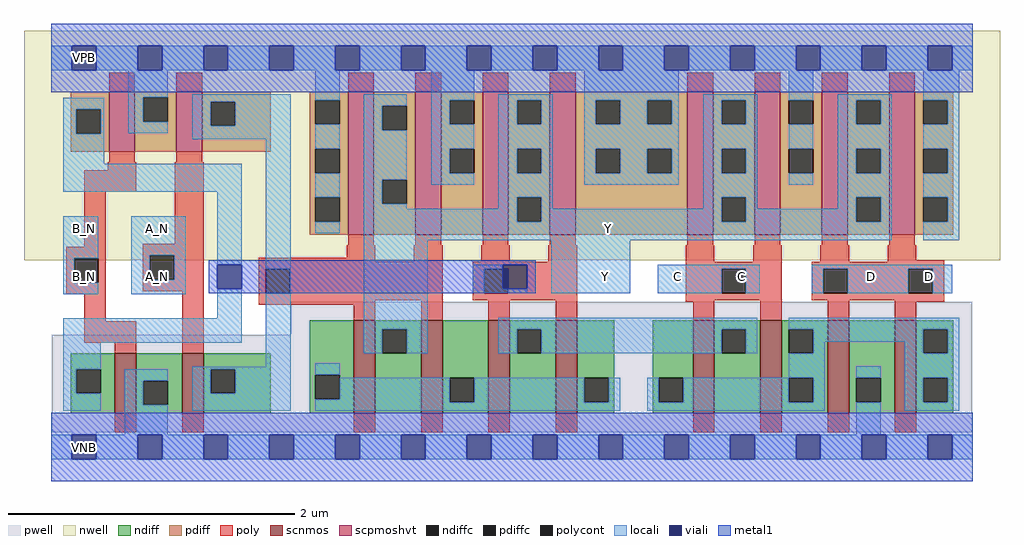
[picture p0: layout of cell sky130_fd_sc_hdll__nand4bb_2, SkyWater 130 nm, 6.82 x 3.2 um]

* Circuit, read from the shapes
.subckt sky130_fd_sc_hdll__nand4bb_2 A_N B_N C D VGND VNB VPB VPWR Y
XM1 VGND B_N n1 VNB sky130_fd_pr__nfet_01v8 w=0.42 l=0.15
XM2 n2 A_N VGND VNB sky130_fd_pr__nfet_01v8 w=0.42 l=0.15
XM3 Y n2 n3 VNB sky130_fd_pr__nfet_01v8 w=0.65 l=0.15 m=2
XM4 n4 n1 n3 VNB sky130_fd_pr__nfet_01v8 w=0.65 l=0.15 m=2
XM5 n4 C n5 VNB sky130_fd_pr__nfet_01v8 w=0.65 l=0.15 m=2
XM6 VGND D n5 VNB sky130_fd_pr__nfet_01v8 w=0.65 l=0.15 m=2
XM7 VPWR B_N n1 VPB sky130_fd_pr__pfet_01v8_hvt w=0.42 l=0.18
XM8 n2 A_N VPWR VPB sky130_fd_pr__pfet_01v8_hvt w=0.42 l=0.18
XM9 Y n2 VPWR VPB sky130_fd_pr__pfet_01v8_hvt w=1 l=0.18 m=2
XM10 Y n1 VPWR VPB sky130_fd_pr__pfet_01v8_hvt w=1 l=0.18 m=2
XM11 Y C VPWR VPB sky130_fd_pr__pfet_01v8_hvt w=1 l=0.18 m=2
XM12 Y D VPWR VPB sky130_fd_pr__pfet_01v8_hvt w=1 l=0.18 m=2
.ends

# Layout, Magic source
magic
tech sky130A
magscale 1 2
<< nwell >>
rect -38 261 1326 582
<< pwell >>
rect 335 157 1287 203
rect 1 21 1287 157
rect 29 -17 63 21
<< scnmos >>
rect 89 47 119 131
rect 183 47 213 131
rect 423 47 453 177
rect 517 47 547 177
rect 611 47 641 177
rect 705 47 735 177
rect 897 47 927 177
rect 991 47 1021 177
rect 1085 47 1115 177
rect 1179 47 1209 177
<< scpmoshvt >>
rect 81 413 117 497
rect 175 413 211 497
rect 415 297 451 497
rect 509 297 545 497
rect 603 297 639 497
rect 697 297 733 497
rect 889 297 925 497
rect 983 297 1019 497
rect 1077 297 1113 497
rect 1171 297 1207 497
<< ndiff >>
rect 27 109 89 131
rect 27 75 35 109
rect 69 75 89 109
rect 27 47 89 75
rect 119 93 183 131
rect 119 59 129 93
rect 163 59 183 93
rect 119 47 183 59
rect 213 109 307 131
rect 213 75 223 109
rect 257 75 307 109
rect 213 47 307 75
rect 361 101 423 177
rect 361 67 369 101
rect 403 67 423 101
rect 361 47 423 67
rect 453 165 517 177
rect 453 131 463 165
rect 497 131 517 165
rect 453 47 517 131
rect 547 97 611 177
rect 547 63 557 97
rect 591 63 611 97
rect 547 47 611 63
rect 641 165 705 177
rect 641 131 651 165
rect 685 131 705 165
rect 641 47 705 131
rect 735 97 787 177
rect 735 63 745 97
rect 779 63 787 97
rect 735 47 787 63
rect 841 97 897 177
rect 841 63 849 97
rect 883 63 897 97
rect 841 47 897 63
rect 927 165 991 177
rect 927 131 937 165
rect 971 131 991 165
rect 927 47 991 131
rect 1021 165 1085 177
rect 1021 131 1031 165
rect 1065 131 1085 165
rect 1021 97 1085 131
rect 1021 63 1031 97
rect 1065 63 1085 97
rect 1021 47 1085 63
rect 1115 97 1179 177
rect 1115 63 1125 97
rect 1159 63 1179 97
rect 1115 47 1179 63
rect 1209 165 1261 177
rect 1209 131 1219 165
rect 1253 131 1261 165
rect 1209 97 1261 131
rect 1209 63 1219 97
rect 1253 63 1261 97
rect 1209 47 1261 63
<< pdiff >>
rect 27 472 81 497
rect 27 438 35 472
rect 69 438 81 472
rect 27 413 81 438
rect 117 489 175 497
rect 117 455 129 489
rect 163 455 175 489
rect 117 413 175 455
rect 211 483 307 497
rect 211 449 223 483
rect 257 449 307 483
rect 211 413 307 449
rect 361 485 415 497
rect 361 451 369 485
rect 403 451 415 485
rect 361 417 415 451
rect 361 383 369 417
rect 403 383 415 417
rect 361 349 415 383
rect 361 315 369 349
rect 403 315 415 349
rect 361 297 415 315
rect 451 477 509 497
rect 451 443 463 477
rect 497 443 509 477
rect 451 374 509 443
rect 451 340 463 374
rect 497 340 509 374
rect 451 297 509 340
rect 545 485 603 497
rect 545 451 557 485
rect 591 451 603 485
rect 545 417 603 451
rect 545 383 557 417
rect 591 383 603 417
rect 545 297 603 383
rect 639 485 697 497
rect 639 451 651 485
rect 685 451 697 485
rect 639 417 697 451
rect 639 383 651 417
rect 685 383 697 417
rect 639 349 697 383
rect 639 315 651 349
rect 685 315 697 349
rect 639 297 697 315
rect 733 485 889 497
rect 733 451 761 485
rect 795 451 833 485
rect 867 451 889 485
rect 733 417 889 451
rect 733 383 761 417
rect 795 383 833 417
rect 867 383 889 417
rect 733 297 889 383
rect 925 485 983 497
rect 925 451 937 485
rect 971 451 983 485
rect 925 417 983 451
rect 925 383 937 417
rect 971 383 983 417
rect 925 349 983 383
rect 925 315 937 349
rect 971 315 983 349
rect 925 297 983 315
rect 1019 485 1077 497
rect 1019 451 1031 485
rect 1065 451 1077 485
rect 1019 417 1077 451
rect 1019 383 1031 417
rect 1065 383 1077 417
rect 1019 297 1077 383
rect 1113 485 1171 497
rect 1113 451 1125 485
rect 1159 451 1171 485
rect 1113 417 1171 451
rect 1113 383 1125 417
rect 1159 383 1171 417
rect 1113 349 1171 383
rect 1113 315 1125 349
rect 1159 315 1171 349
rect 1113 297 1171 315
rect 1207 485 1261 497
rect 1207 451 1219 485
rect 1253 451 1261 485
rect 1207 417 1261 451
rect 1207 383 1219 417
rect 1253 383 1261 417
rect 1207 349 1261 383
rect 1207 315 1219 349
rect 1253 315 1261 349
rect 1207 297 1261 315
<< ndiffc >>
rect 35 75 69 109
rect 129 59 163 93
rect 223 75 257 109
rect 369 67 403 101
rect 463 131 497 165
rect 557 63 591 97
rect 651 131 685 165
rect 745 63 779 97
rect 849 63 883 97
rect 937 131 971 165
rect 1031 131 1065 165
rect 1031 63 1065 97
rect 1125 63 1159 97
rect 1219 131 1253 165
rect 1219 63 1253 97
<< pdiffc >>
rect 35 438 69 472
rect 129 455 163 489
rect 223 449 257 483
rect 369 451 403 485
rect 369 383 403 417
rect 369 315 403 349
rect 463 443 497 477
rect 463 340 497 374
rect 557 451 591 485
rect 557 383 591 417
rect 651 451 685 485
rect 651 383 685 417
rect 651 315 685 349
rect 761 451 795 485
rect 833 451 867 485
rect 761 383 795 417
rect 833 383 867 417
rect 937 451 971 485
rect 937 383 971 417
rect 937 315 971 349
rect 1031 451 1065 485
rect 1031 383 1065 417
rect 1125 451 1159 485
rect 1125 383 1159 417
rect 1125 315 1159 349
rect 1219 451 1253 485
rect 1219 383 1253 417
rect 1219 315 1253 349
<< poly >>
rect 81 497 117 523
rect 175 497 211 523
rect 415 497 451 523
rect 509 497 545 523
rect 603 497 639 523
rect 697 497 733 523
rect 889 497 925 523
rect 983 497 1019 523
rect 1077 497 1113 523
rect 1171 497 1207 523
rect 81 398 117 413
rect 175 398 211 413
rect 79 387 119 398
rect 46 357 119 387
rect 46 280 76 357
rect 173 284 213 398
rect 21 264 76 280
rect 21 230 32 264
rect 66 230 76 264
rect 21 214 76 230
rect 128 268 213 284
rect 415 282 451 297
rect 509 282 545 297
rect 603 282 639 297
rect 697 282 733 297
rect 889 282 925 297
rect 983 282 1019 297
rect 1077 282 1113 297
rect 1171 282 1207 297
rect 128 234 138 268
rect 172 234 213 268
rect 413 265 453 282
rect 128 218 213 234
rect 46 176 76 214
rect 46 146 119 176
rect 89 131 119 146
rect 183 131 213 218
rect 290 259 453 265
rect 507 259 547 282
rect 601 259 641 282
rect 695 259 735 282
rect 290 249 547 259
rect 290 215 300 249
rect 334 215 547 249
rect 290 205 547 215
rect 589 249 735 259
rect 589 215 605 249
rect 639 215 735 249
rect 589 205 735 215
rect 290 199 453 205
rect 423 177 453 199
rect 517 177 547 205
rect 611 177 641 205
rect 705 177 735 205
rect 887 259 927 282
rect 981 259 1021 282
rect 1075 259 1115 282
rect 1169 261 1209 282
rect 1169 259 1248 261
rect 887 249 1021 259
rect 887 215 937 249
rect 971 215 1021 249
rect 887 205 1021 215
rect 1063 249 1248 259
rect 1063 215 1079 249
rect 1113 215 1198 249
rect 1232 215 1248 249
rect 1063 205 1248 215
rect 887 203 927 205
rect 897 177 927 203
rect 991 177 1021 205
rect 1085 177 1115 205
rect 1179 203 1248 205
rect 1179 177 1209 203
rect 89 21 119 47
rect 183 21 213 47
rect 423 21 453 47
rect 517 21 547 47
rect 611 21 641 47
rect 705 21 735 47
rect 897 21 927 47
rect 991 21 1021 47
rect 1085 21 1115 47
rect 1179 21 1209 47
<< polycont >>
rect 32 230 66 264
rect 138 234 172 268
rect 300 215 334 249
rect 605 215 639 249
rect 937 215 971 249
rect 1079 215 1113 249
rect 1198 215 1232 249
<< locali >>
rect 0 527 29 561
rect 63 527 121 561
rect 155 527 213 561
rect 247 527 305 561
rect 339 527 397 561
rect 431 527 489 561
rect 523 527 581 561
rect 615 527 673 561
rect 707 527 765 561
rect 799 527 857 561
rect 891 527 949 561
rect 983 527 1041 561
rect 1075 527 1133 561
rect 1167 527 1225 561
rect 1259 527 1288 561
rect 108 489 163 527
rect 17 472 74 488
rect 17 438 35 472
rect 69 438 74 472
rect 108 455 129 489
rect 108 439 163 455
rect 197 483 335 493
rect 197 449 223 483
rect 257 449 335 483
rect 17 396 74 438
rect 197 430 335 449
rect 17 357 266 396
rect 17 264 66 323
rect 17 230 32 264
rect 17 214 66 230
rect 112 268 188 323
rect 112 234 138 268
rect 172 234 188 268
rect 112 214 188 234
rect 232 255 266 357
rect 232 180 266 221
rect 17 146 266 180
rect 300 249 335 430
rect 369 485 403 527
rect 369 417 403 451
rect 369 349 403 383
rect 369 299 403 315
rect 437 477 497 493
rect 437 443 463 477
rect 437 374 497 443
rect 437 340 463 374
rect 531 485 591 527
rect 531 451 557 485
rect 531 417 591 451
rect 531 383 557 417
rect 531 367 591 383
rect 625 485 701 493
rect 625 451 651 485
rect 685 451 701 485
rect 625 417 701 451
rect 625 383 651 417
rect 685 383 701 417
rect 437 333 497 340
rect 625 349 701 383
rect 745 485 877 527
rect 745 451 761 485
rect 795 451 833 485
rect 867 451 877 485
rect 745 417 877 451
rect 745 383 761 417
rect 795 383 833 417
rect 867 383 877 417
rect 745 367 877 383
rect 911 485 987 493
rect 911 451 937 485
rect 971 451 987 485
rect 911 417 987 451
rect 911 383 937 417
rect 971 383 987 417
rect 625 333 651 349
rect 437 315 651 333
rect 685 333 701 349
rect 911 349 987 383
rect 1031 485 1065 527
rect 1031 417 1065 451
rect 1031 367 1065 383
rect 1099 485 1175 493
rect 1099 451 1125 485
rect 1159 451 1175 485
rect 1099 417 1175 451
rect 1099 383 1125 417
rect 1159 383 1175 417
rect 911 333 937 349
rect 685 315 937 333
rect 971 333 987 349
rect 1099 349 1175 383
rect 1099 333 1125 349
rect 971 315 1125 333
rect 1159 315 1175 349
rect 334 215 335 249
rect 17 109 69 146
rect 300 112 335 215
rect 437 289 1175 315
rect 1219 485 1269 527
rect 1253 451 1269 485
rect 1219 417 1269 451
rect 1253 383 1269 417
rect 1219 349 1269 383
rect 1253 315 1269 349
rect 1219 289 1269 315
rect 437 165 526 289
rect 589 249 631 255
rect 589 215 605 249
rect 639 215 665 221
rect 699 215 809 289
rect 848 249 990 255
rect 848 215 937 249
rect 971 215 990 249
rect 1063 249 1259 255
rect 1063 215 1079 249
rect 1113 215 1198 249
rect 1232 215 1259 249
rect 437 131 463 165
rect 497 131 526 165
rect 625 165 987 181
rect 625 131 651 165
rect 685 131 937 165
rect 971 131 987 165
rect 1031 165 1269 181
rect 1065 147 1219 165
rect 1065 131 1081 147
rect 197 109 335 112
rect 17 75 35 109
rect 17 51 69 75
rect 103 93 163 109
rect 103 59 129 93
rect 103 17 163 59
rect 197 75 223 109
rect 257 75 335 109
rect 197 51 335 75
rect 369 101 403 117
rect 1031 97 1081 131
rect 1193 131 1219 147
rect 1253 131 1269 165
rect 403 67 557 97
rect 369 63 557 67
rect 591 63 745 97
rect 779 63 795 97
rect 369 51 795 63
rect 833 63 849 97
rect 883 63 1031 97
rect 1065 63 1081 97
rect 833 51 1081 63
rect 1125 97 1159 113
rect 1125 17 1159 63
rect 1193 97 1269 131
rect 1193 63 1219 97
rect 1253 63 1269 97
rect 1193 51 1269 63
rect 0 -17 29 17
rect 63 -17 121 17
rect 155 -17 213 17
rect 247 -17 305 17
rect 339 -17 397 17
rect 431 -17 489 17
rect 523 -17 581 17
rect 615 -17 673 17
rect 707 -17 765 17
rect 799 -17 857 17
rect 891 -17 949 17
rect 983 -17 1041 17
rect 1075 -17 1133 17
rect 1167 -17 1225 17
rect 1259 -17 1288 17
<< viali >>
rect 29 527 63 561
rect 121 527 155 561
rect 213 527 247 561
rect 305 527 339 561
rect 397 527 431 561
rect 489 527 523 561
rect 581 527 615 561
rect 673 527 707 561
rect 765 527 799 561
rect 857 527 891 561
rect 949 527 983 561
rect 1041 527 1075 561
rect 1133 527 1167 561
rect 1225 527 1259 561
rect 232 221 266 255
rect 631 249 665 255
rect 631 221 639 249
rect 639 221 665 249
rect 29 -17 63 17
rect 121 -17 155 17
rect 213 -17 247 17
rect 305 -17 339 17
rect 397 -17 431 17
rect 489 -17 523 17
rect 581 -17 615 17
rect 673 -17 707 17
rect 765 -17 799 17
rect 857 -17 891 17
rect 949 -17 983 17
rect 1041 -17 1075 17
rect 1133 -17 1167 17
rect 1225 -17 1259 17
<< metal1 >>
rect 0 561 1288 592
rect 0 527 29 561
rect 63 527 121 561
rect 155 527 213 561
rect 247 527 305 561
rect 339 527 397 561
rect 431 527 489 561
rect 523 527 581 561
rect 615 527 673 561
rect 707 527 765 561
rect 799 527 857 561
rect 891 527 949 561
rect 983 527 1041 561
rect 1075 527 1133 561
rect 1167 527 1225 561
rect 1259 527 1288 561
rect 0 496 1288 527
rect 220 255 677 261
rect 220 221 232 255
rect 266 221 631 255
rect 665 221 677 255
rect 220 215 677 221
rect 0 17 1288 48
rect 0 -17 29 17
rect 63 -17 121 17
rect 155 -17 213 17
rect 247 -17 305 17
rect 339 -17 397 17
rect 431 -17 489 17
rect 523 -17 581 17
rect 615 -17 673 17
rect 707 -17 765 17
rect 799 -17 857 17
rect 891 -17 949 17
rect 983 -17 1041 17
rect 1075 -17 1133 17
rect 1167 -17 1225 17
rect 1259 -17 1288 17
rect 0 -48 1288 -17
<< labels >>
flabel locali s 1129 221 1163 255 0 FreeSans 200 0 0 0 D
port 4 nsew signal input
flabel locali s 1210 221 1244 255 0 FreeSans 200 0 0 0 D
port 4 nsew signal input
flabel locali s 948 221 982 255 0 FreeSans 200 0 0 0 C
port 3 nsew signal input
flabel locali s 30 289 64 323 0 FreeSans 200 0 0 0 B_N
port 2 nsew signal input
flabel locali s 30 221 64 255 0 FreeSans 200 0 0 0 B_N
port 2 nsew signal input
flabel locali s 132 289 166 323 0 FreeSans 200 0 0 0 A_N
port 1 nsew signal input
flabel locali s 132 221 166 255 0 FreeSans 200 0 0 0 A_N
port 1 nsew signal input
flabel locali s 762 289 796 323 0 FreeSans 200 0 0 0 Y
port 9 nsew signal output
flabel locali s 758 221 792 255 0 FreeSans 200 0 0 0 Y
port 9 nsew signal output
flabel locali s 858 221 892 255 0 FreeSans 200 0 0 0 C
port 3 nsew signal input
flabel pwell s 29 -17 63 17 0 FreeSans 200 0 0 0 VNB
port 6 nsew ground bidirectional
flabel nwell s 29 527 63 561 0 FreeSans 200 0 0 0 VPB
port 7 nsew power bidirectional
flabel metal1 s 29 -17 63 17 0 FreeSans 200 0 0 0 VGND
port 5 nsew ground bidirectional
flabel metal1 s 29 527 63 561 0 FreeSans 200 0 0 0 VPWR
port 8 nsew power bidirectional
rlabel comment s 0 0 0 0 4 nand4bb_2
<< properties >>
string LEFsite unithd
string LEFclass CORE
string FIXED_BBOX 0 0 1288 544
string GDS_FILE $PDKPATH/libs.ref/sky130_fd_sc_hdll/gds/sky130_fd_sc_hdll.gds
string LEFsymmetry X Y R90
string GDS_END 2295114
string GDS_START 2284518
string LEFproperties maskLayoutSubType "abstract" prCellType "standard" originalViewName "layout"
<< end >>
